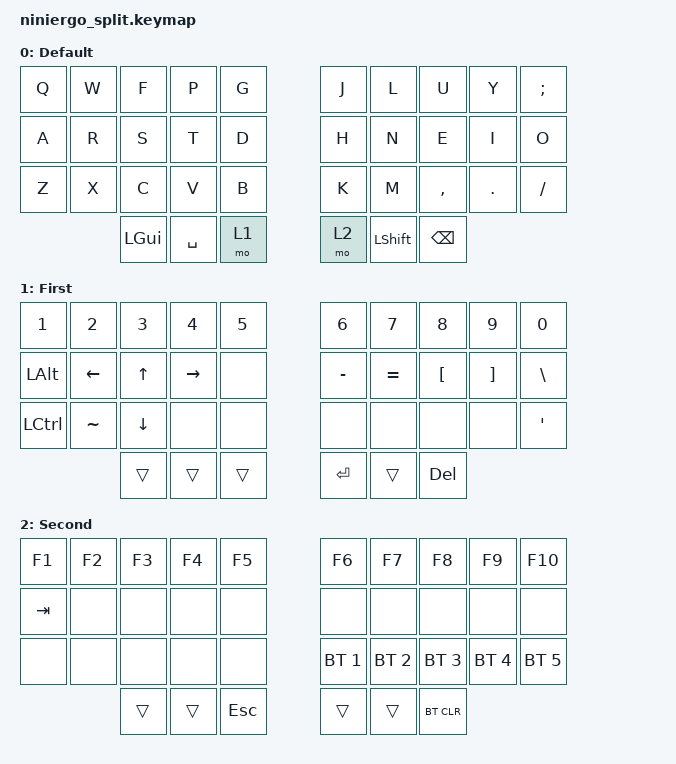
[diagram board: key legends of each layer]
/*
 * Copyright (c) 2020 The ZMK Contributors
 *
 * SPDX-License-Identifier: MIT
 */

#include <behaviors.dtsi>
#include <dt-bindings/zmk/keys.h>
#include <dt-bindings/zmk/bt.h>


/ {
    keymap {
        compatible = "zmk,keymap";

        default_layer {
            label = "Default";

            bindings = <
                &kp Q       &kp W       &kp F       &kp P       &kp G           &kp J       &kp L       &kp U       &kp Y       &kp SEMI 
                &kp A       &kp R       &kp S       &kp T       &kp D           &kp H       &kp N       &kp E       &kp I       &kp O 
                &kp Z       &kp X       &kp C       &kp V       &kp B           &kp K       &kp M       &kp COMMA   &kp DOT     &kp FSLH  

                                &kp LGUI    &kp SPACE   &mo 1                      &mo 2        &kp LSHFT   &kp BSPC

            >;
        };

        first_layer {
            label = "First";

            bindings = <
                &kp N1      &kp N2      &kp N3      &kp N4      &kp N5          &kp N6      &kp N7      &kp N8      &kp N9      &kp N0
                &kp LALT    &kp LEFT    &kp UP      &kp RIGHT   &none           &kp MINUS   &kp EQUAL   &kp LBKT    &kp RBKT    &kp BSLH
                &kp LCTRL   &kp TILDE   &kp DOWN    &none       &none           &none       &none       &none       &none       &kp SQT

                                &trans      &trans      &trans                      &kp RET     &trans      &kp DEL
            >;
        };

        second_layer {
            label = "Second";

            bindings = <
                &kp F1      &kp F2      &kp F3      &kp F4      &kp F5          &kp F6          &kp F7          &kp F8          &kp F9          &kp F10
                &kp TAB     &none       &none       &none       &none           &none           &none           &none           &none           &none 
                &none       &none       &none       &none       &none           &bt BT_SEL 1    &bt BT_SEL 2    &bt BT_SEL 3    &bt BT_SEL 4    &bt BT_SEL 5 

                                &trans      &trans      &kp ESC                      &trans     &trans      &bt BT_CLR          
            >;
        };
    };
};
